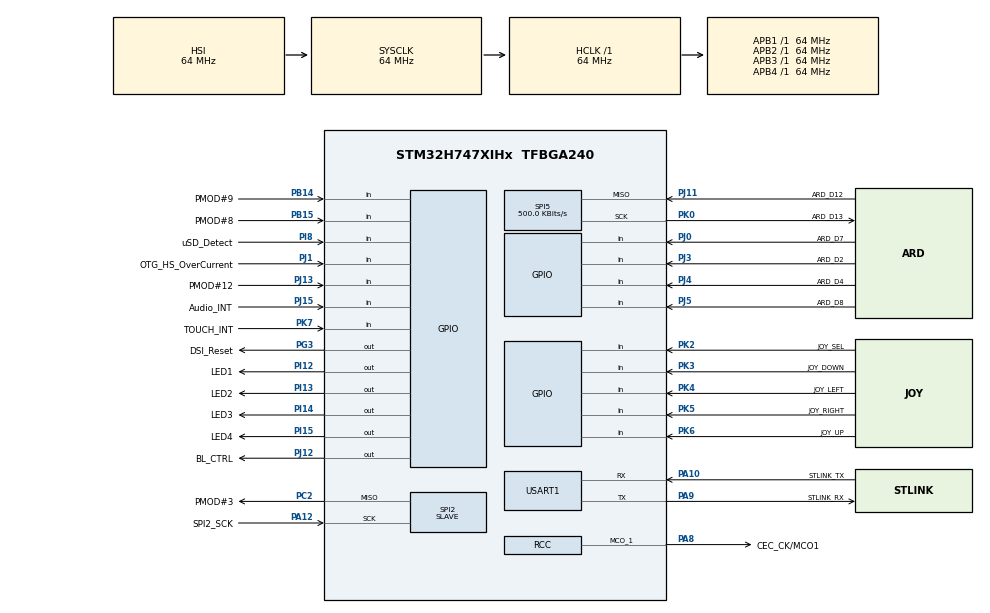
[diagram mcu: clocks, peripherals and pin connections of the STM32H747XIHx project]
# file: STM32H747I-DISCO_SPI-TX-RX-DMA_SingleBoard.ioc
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CortexM4.IPs=BDMA,DMA,FATFS_M4\:I,FREERTOS_M4\:I,IWDG2\:I,MDMA,NVIC2\:I,RCC,USB_DEVICE_M4\:I,USB_HOST_M4\:I,WWDG2\:I,QUADSPI\:I,DCMI\:I,RTC\:I,SDMMC1\:I,DEBUG,PDM2PCM_M4\:I,PWR,RESMGR_UTILITY,SYS_M4\:I,CORTEX_M4\:I,OPENAMP_M4\:I,VREFBUF
CortexM7.IPs=BDMA\:I,DMA\:I,FATFS_M7\:I,FREERTOS_M7\:I,IWDG1\:I,MDMA\:I,NVIC1\:I,RCC\:I,USB_DEVICE_M7\:I,USB_HOST_M7\:I,WWDG1\:I,USART1\:I,CORTEX_M7\:I,DEBUG\:I,PDM2PCM_M7\:I,PWR\:I,RESMGR_UTILITY\:I,SYS\:I,OPENAMP_M7\:I,VREFBUF\:I,SPI5\:I,RTC,SPI1\:I,SPI2\:I
Dma.Request0=SPI5_RX
Dma.Request1=SPI2_TX
Dma.SPI2_TX.1.Direction=DMA_MEMORY_TO_PERIPH
Dma.SPI2_TX.1.EventEnable=DISABLE
Dma.SPI2_TX.1.FIFOMode=DMA_FIFOMODE_DISABLE
Dma.SPI2_TX.1.Instance=DMA2_Stream0
Dma.SPI2_TX.1.MemDataAlignment=DMA_MDATAALIGN_BYTE
Dma.SPI2_TX.1.MemInc=DMA_MINC_ENABLE
Dma.SPI2_TX.1.Mode=DMA_NORMAL
Dma.SPI2_TX.1.PeriphDataAlignment=DMA_PDATAALIGN_BYTE
Dma.SPI2_TX.1.PeriphInc=DMA_PINC_DISABLE
Dma.SPI2_TX.1.Polarity=HAL_DMAMUX_REQ_GEN_RISING
Dma.SPI2_TX.1.Priority=DMA_PRIORITY_MEDIUM
Dma.SPI2_TX.1.RequestNumber=1
Dma.SPI2_TX.1.SignalID=NONE
Dma.SPI2_TX.1.SyncEnable=DISABLE
Dma.SPI2_TX.1.SyncPolarity=HAL_DMAMUX_SYNC_NO_EVENT
Dma.SPI2_TX.1.SyncRequestNumber=1
Dma.SPI2_TX.1.SyncSignalID=NONE
Dma.SPI5_RX.0.Direction=DMA_PERIPH_TO_MEMORY
Dma.SPI5_RX.0.EventEnable=DISABLE
Dma.SPI5_RX.0.FIFOMode=DMA_FIFOMODE_DISABLE
Dma.SPI5_RX.0.Instance=DMA1_Stream0
Dma.SPI5_RX.0.MemDataAlignment=DMA_MDATAALIGN_BYTE
Dma.SPI5_RX.0.MemInc=DMA_MINC_ENABLE
Dma.SPI5_RX.0.Mode=DMA_NORMAL
Dma.SPI5_RX.0.PeriphDataAlignment=DMA_PDATAALIGN_BYTE
Dma.SPI5_RX.0.PeriphInc=DMA_PINC_DISABLE
Dma.SPI5_RX.0.Polarity=HAL_DMAMUX_REQ_GEN_RISING
Dma.SPI5_RX.0.Priority=DMA_PRIORITY_MEDIUM
Dma.SPI5_RX.0.RequestNumber=1
Dma.SPI5_RX.0.SignalID=NONE
Dma.SPI5_RX.0.SyncEnable=DISABLE
Dma.SPI5_RX.0.SyncPolarity=HAL_DMAMUX_SYNC_NO_EVENT
Dma.SPI5_RX.0.SyncRequestNumber=1
Dma.SPI5_RX.0.SyncSignalID=NONE
Mcu.Family=STM32H7
Mcu.Name=STM32H747XIHx
Mcu.Package=TFBGA240
NVIC1.DMA1_Stream0_IRQn=true\:0\:0\:false\:false\:true\:false\:true
NVIC1.DMA2_Stream0_IRQn=true\:0\:0\:false\:false\:true\:false\:true
NVIC1.PriorityGroup=NVIC_PRIORITYGROUP_4
NVIC1.SPI2_IRQn=true\:0\:0\:false\:false\:true\:false\:true
NVIC1.SPI5_IRQn=true\:0\:0\:false\:false\:true\:false\:true
NVIC2.PriorityGroup=NVIC_PRIORITYGROUP_4
PA0_C.GPIO_Label=ARD_A2
PA0_C.PinAttribute=CortexM4
PA0_C.Signal=ADCx_INP0
PA1.GPIO_Label=ETH_REF_CLK
PA1.PinAttribute=CortexM4
PA1.Signal=ETH_REF_CLK
PA10.GPIO_Label=STLINK_TX
PA10.Mode=Asynchronous
PA10.PinAttribute=CortexM7
PA10.Signal=USART1_RX
PA11.GPIO_Label=PMOD\#1
PA11.PinAttribute=CortexM7
PA11.Signal=SPI2_NSS
PA12.GPIO_Label=SPI2_SCK
PA12.Mode=TX_Only_Simplex_Unidirect_Slave
PA12.PinAttribute=CortexM7
PA12.Signal=SPI2_SCK
PA13\ (JTMS/SWDIO).Mode=Trace_Asynchronous_SW
PA13\ (JTMS/SWDIO).PinAttribute=CortexM7
PA13\ (JTMS/SWDIO).Signal=DEBUG_JTMS-SWDIO
PA14\ (JTCK/SWCLK).Mode=Trace_Asynchronous_SW
PA14\ (JTCK/SWCLK).PinAttribute=CortexM7
PA14\ (JTCK/SWCLK).Signal=DEBUG_JTCK-SWCLK
PA1_C.GPIO_Label=ARD_A3
PA1_C.PinAttribute=CortexM4
PA1_C.Signal=ADCx_INP1
PA2.GPIO_Label=ETH_MDIO
PA2.PinAttribute=CortexM4
PA2.Signal=ETH_MDIO
PA3.GPIO_Label=ULPI_D0
PA3.PinAttribute=CortexM4
PA3.Signal=USB_OTG_HS_ULPI_D0
PA5.GPIO_Label=ULPI_CK
PA5.PinAttribute=CortexM4
PA5.Signal=USB_OTG_HS_ULPI_CK
PA7.GPIO_Label=ETH_CRS_DV
PA7.PinAttribute=CortexM4
PA7.Signal=ETH_CRS_DV
PA8.GPIO_Label=CEC_CK/MCO1
PA8.Mode=Clock-out-1
PA8.PinAttribute=CortexM7
PA8.Signal=RCC_MCO_1
PA9.GPIO_Label=STLINK_RX
PA9.Mode=Asynchronous
PA9.PinAttribute=CortexM7
PA9.Signal=USART1_TX
PB0.GPIO_Label=ULPI_D1
PB0.PinAttribute=CortexM4
PB0.Signal=USB_OTG_HS_ULPI_D1
PB1.GPIO_Label=ULPI_D2
PB1.PinAttribute=CortexM4
PB1.Signal=USB_OTG_HS_ULPI_D2
PB10.GPIO_Label=ULPI_D3
PB10.PinAttribute=CortexM4
PB10.Signal=USB_OTG_HS_ULPI_D3
PB11.GPIO_Label=ULPI_D4
PB11.PinAttribute=CortexM4
PB11.Signal=USB_OTG_HS_ULPI_D4
PB12.GPIO_Label=ULPI_D5
PB12.PinAttribute=CortexM4
PB12.Signal=USB_OTG_HS_ULPI_D5
PB13.GPIO_Label=ULPI_D6
PB13.PinAttribute=CortexM4
PB13.Signal=USB_OTG_HS_ULPI_D6
PB14.GPIO_Label=PMOD\#9
PB14.PinAttribute=Free
PB14.Signal=GPIO_Input
PB15.GPIO_Label=PMOD\#8
PB15.PinAttribute=Free
PB15.Signal=GPIO_Input
PB2.GPIO_Label=QSPI_CLK
PB2.PinAttribute=CortexM4
PB2.Signal=QUADSPI_CLK
PB3\ (JTDO/TRACESWO).Mode=Trace_Asynchronous_SW
PB3\ (JTDO/TRACESWO).PinAttribute=CortexM7
PB3\ (JTDO/TRACESWO).Signal=DEBUG_JTDO-SWO
PB5.GPIO_Label=ULPI_D7
PB5.PinAttribute=CortexM4
PB5.Signal=USB_OTG_HS_ULPI_D7
PB6.GPIO_Label=HDMI_CEC
PB6.PinAttribute=CortexM4
PB6.Signal=CEC
PC0.GPIO_Label=ULPI_STP
PC0.PinAttribute=CortexM4
PC0.Signal=USB_OTG_HS_ULPI_STP
PC1.GPIO_Label=ETH_MDC/SAI4_D1
PC1.PinAttribute=CortexM4
PC1.Signal=ETH_MDC
PC10.GPIO_Label=SDIO1_D2
PC10.PinAttribute=CortexM4
PC10.Signal=SDMMC1_D2
PC12.GPIO_Label=SDIO1_CK
PC12.PinAttribute=CortexM4
PC12.Signal=SDMMC1_CK
PC13.GPIO_Label=B2 [Wakeup Button]
PC13.PinAttribute=CortexM4
PC13.Signal=RTC_TAMP1
PC14-OSC32_IN\ (OSC32_IN).GPIO_Label=OSC32_IN
PC14-OSC32_IN\ (OSC32_IN).Mode=LSE-External-Oscillator
PC14-OSC32_IN\ (OSC32_IN).PinAttribute=CortexM7
PC14-OSC32_IN\ (OSC32_IN).Signal=RCC_OSC32_IN
PC15-OSC32_OUT\ (OSC32_OUT).GPIO_Label=OSC32_OUT
PC15-OSC32_OUT\ (OSC32_OUT).Mode=LSE-External-Oscillator
PC15-OSC32_OUT\ (OSC32_OUT).PinAttribute=CortexM7
PC15-OSC32_OUT\ (OSC32_OUT).Signal=RCC_OSC32_OUT
PC2.GPIO_Label=PMOD\#3
PC2.Mode=TX_Only_Simplex_Unidirect_Slave
PC2.PinAttribute=CortexM7
PC2.Signal=SPI2_MISO
PC2_C.GPIO_Label=ARD_A4
PC2_C.PinAttribute=CortexM4
PC2_C.Signal=ADC3_INP0
PC3.GPIO_Label=PMOD\#2
PC3.PinAttribute=CortexM7
PC3.Signal=SPI2_MOSI
PC3_C.GPIO_Label=ARD_A5
PC3_C.PinAttribute=CortexM4
PC3_C.Signal=ADC3_INP1
PC4.GPIO_Label=ETH_RXD0
PC4.PinAttribute=CortexM4
PC4.Signal=ETH_RXD0
PC5.GPIO_Label=ETH_RXD1
PC5.PinAttribute=CortexM4
PC5.Signal=ETH_RXD1
PC8.GPIO_Label=SDIO1_D0
PC8.PinAttribute=CortexM4
PC8.Signal=SDMMC1_D0
PD0.GPIO_Label=FMC_D2
PD0.PinAttribute=CortexM4
PD0.Signal=FMC_D2_DA2
PD1.GPIO_Label=FMC_D3
PD1.PinAttribute=CortexM4
PD1.Signal=FMC_D3_DA3
PD10.GPIO_Label=FMC_D15
PD10.PinAttribute=CortexM4
PD10.Signal=FMC_D15_DA15
PD11.GPIO_Label=QSPI_BK1_IO0
PD11.PinAttribute=CortexM4
PD11.Signal=QUADSPI_BK1_IO0
PD14.GPIO_Label=FMC_D0
PD14.PinAttribute=CortexM4
PD14.Signal=FMC_D0_DA0
PD15.GPIO_Label=FMC_D1
PD15.PinAttribute=CortexM4
PD15.Signal=FMC_D1_DA1
PD2.GPIO_Label=SDIO1_CMD
PD2.PinAttribute=CortexM4
PD2.Signal=SDMMC1_CMD
PD7.GPIO_Label=SPDIF_RX0
PD7.PinAttribute=CortexM4
PD7.Signal=SPDIFRX1_IN0
PD8.GPIO_Label=FMC_D13
PD8.PinAttribute=CortexM4
PD8.Signal=FMC_D13_DA13
PD9.GPIO_Label=FMC_D14
PD9.PinAttribute=CortexM4
PD9.Signal=FMC_D14_DA14
PE0.GPIO_Label=FMC_NBL0
PE0.PinAttribute=CortexM4
PE0.Signal=FMC_NBL0
PE1.GPIO_Label=FMC_NBL1
PE1.PinAttribute=CortexM4
PE1.Signal=FMC_NBL1
PE10.GPIO_Label=FMC_D7
PE10.PinAttribute=CortexM4
PE10.Signal=FMC_D7_DA7
PE11.GPIO_Label=FMC_D8
PE11.PinAttribute=CortexM4
PE11.Signal=FMC_D8_DA8
PE12.GPIO_Label=FMC_D9
PE12.PinAttribute=CortexM4
PE12.Signal=FMC_D9_DA9
PE13.GPIO_Label=FMC_D10
PE13.PinAttribute=CortexM4
PE13.Signal=FMC_D10_DA10
PE14.GPIO_Label=FMC_D11
PE14.PinAttribute=CortexM4
PE14.Signal=FMC_D11_DA11
PE15.GPIO_Label=FMC_D12
PE15.PinAttribute=CortexM4
PE15.Signal=FMC_D12_DA12
PE3.GPIO_Label=SAI1_SD_B
PE3.PinAttribute=CortexM4
PE3.Signal=SAI1_SD_B
PE4.GPIO_Label=SAI1_FS_A
PE4.PinAttribute=CortexM4
PE4.Signal=SAI1_FS_A
PE5.GPIO_Label=SAI1_SCK_A
PE5.PinAttribute=CortexM4
PE5.Signal=SAI1_SCK_A
PE6.GPIO_Label=SAI1_SD_A
PE6.PinAttribute=CortexM4
PE6.Signal=SAI1_SD_A
PE7.GPIO_Label=FMC_D4
PE7.PinAttribute=CortexM4
PE7.Signal=FMC_D4_DA4
PE8.GPIO_Label=FMC_D5
PE8.PinAttribute=CortexM4
PE8.Signal=FMC_D5_DA5
PE9.GPIO_Label=FMC_D6
PE9.PinAttribute=CortexM4
PE9.Signal=FMC_D6_DA6
PF0.GPIO_Label=FMC_A0
PF0.PinAttribute=CortexM4
PF0.Signal=FMC_A0
PF1.GPIO_Label=FMC_A1
PF1.PinAttribute=CortexM4
PF1.Signal=FMC_A1
PF10.GPIO_Label=ARD_A1
PF10.PinAttribute=CortexM4
PF10.Signal=ADC3_INP6
PF11.GPIO_Label=FMC_SDRAS
PF11.PinAttribute=CortexM4
PF11.Signal=FMC_SDNRAS
PF12.GPIO_Label=FMC_A6
PF12.PinAttribute=CortexM4
PF12.Signal=FMC_A6
PF13.GPIO_Label=FMC_A7
PF13.PinAttribute=CortexM4
PF13.Signal=FMC_A7
PF14.GPIO_Label=FMC_A8
PF14.PinAttribute=CortexM4
PF14.Signal=FMC_A8
PF15.GPIO_Label=FMC_A9
PF15.PinAttribute=CortexM4
PF15.Signal=FMC_A9
PF2.GPIO_Label=FMC_A2
PF2.PinAttribute=CortexM4
PF2.Signal=FMC_A2
PF3.GPIO_Label=FMC_A3
PF3.PinAttribute=CortexM4
PF3.Signal=FMC_A3
PF4.GPIO_Label=FMC_A4
PF4.PinAttribute=CortexM4
PF4.Signal=FMC_A4
PF5.GPIO_Label=FMC_A5
PF5.PinAttribute=CortexM4
PF5.Signal=FMC_A5
PF6.GPIO_Label=QSPI_BK1_IO3
PF6.PinAttribute=CortexM4
PF6.Signal=QUADSPI_BK1_IO3
PF7.GPIO_Label=QSPI_BK1_IO2
PF7.PinAttribute=CortexM4
PF7.Signal=QUADSPI_BK1_IO2
PF8.GPIO_Label=PMOD\#14/ARD_D3
PF8.PinAttribute=CortexM4
PF8.Signal=S_TIM13_CH1
PF9.GPIO_Label=QSPI_BK1_IO1
PF9.PinAttribute=CortexM4
PF9.Signal=QUADSPI_BK1_IO1
PG0.GPIO_Label=FMC_A10
PG0.PinAttribute=CortexM4
PG0.Signal=FMC_A10
PG1.GPIO_Label=FMC_A11
PG1.PinAttribute=CortexM4
PG1.Signal=FMC_A11
PG11.GPIO_Label=ETH_TX_EN
PG11.PinAttribute=CortexM4
PG11.Signal=ETH_TX_EN
PG12.GPIO_Label=ETH_TXD1
PG12.PinAttribute=CortexM4
PG12.Signal=ETH_TXD1
PG13.GPIO_Label=ETH_TXD0
PG13.PinAttribute=CortexM4
PG13.Signal=ETH_TXD0
PG14.GPIO_Label=QSPI_BK2_IO3
PG14.PinAttribute=CortexM4
PG14.Signal=QUADSPI_BK2_IO3
PG15.GPIO_Label=FMC_SDCAS
PG15.PinAttribute=CortexM4
PG15.Signal=FMC_SDNCAS
PG2.GPIO_Label=FMC_A12
PG2.PinAttribute=CortexM4
PG2.Signal=FMC_A12
PG3.GPIO_Label=DSI_Reset
PG3.PinAttribute=Free
PG3.Signal=GPIO_Output
PG4.GPIO_Label=FMC_BA0
PG4.PinAttribute=CortexM4
PG4.Signal=FMC_A14_BA0
PG6.GPIO_Label=QSPI_BK1_NCS
PG6.PinAttribute=CortexM4
PG6.Signal=QUADSPI_BK1_NCS
PG7.GPIO_Label=SAI1_MCLK_A
PG7.PinAttribute=CortexM4
PG7.Signal=SAI1_MCLK_A
PG8.GPIO_Label=FMC_SDCLK
PG8.PinAttribute=CortexM4
PG8.Signal=FMC_SDCLK
PG9.GPIO_Label=QSPI_BK2_IO2
PG9.PinAttribute=CortexM4
PG9.Signal=QUADSPI_BK2_IO2
PH0-OSC_IN\ (PH0).GPIO_Label=OSC_IN
PH0-OSC_IN\ (PH0).Mode=HSE-External-Oscillator
PH0-OSC_IN\ (PH0).PinAttribute=CortexM7
PH0-OSC_IN\ (PH0).Signal=RCC_OSC_IN
PH1-OSC_OUT\ (PH1).GPIO_Label=OSC_OUT
PH1-OSC_OUT\ (PH1).Mode=HSE-External-Oscillator
PH1-OSC_OUT\ (PH1).PinAttribute=CortexM7
PH1-OSC_OUT\ (PH1).Signal=RCC_OSC_OUT
PH10.GPIO_Label=FMC_D18
PH10.PinAttribute=CortexM4
PH10.Signal=FMC_D18
PH11.GPIO_Label=FMC_D19
PH11.PinAttribute=CortexM4
PH11.Signal=FMC_D19
PH12.GPIO_Label=FMC_D20
PH12.PinAttribute=CortexM4
PH12.Signal=FMC_D20
PH13.GPIO_Label=FMC_D21
PH13.PinAttribute=CortexM4
PH13.Signal=FMC_D21
PH14.GPIO_Label=FMC_D22
PH14.PinAttribute=CortexM4
PH14.Signal=FMC_D22
PH15.GPIO_Label=FMC_D23
PH15.PinAttribute=CortexM4
PH15.Signal=FMC_D23
PH2.GPIO_Label=QSPI_BK2_IO0
PH2.PinAttribute=CortexM4
PH2.Signal=QUADSPI_BK2_IO0
PH3.GPIO_Label=QSPI_BK2_IO1
PH3.PinAttribute=CortexM4
PH3.Signal=QUADSPI_BK2_IO1
PH4.GPIO_Label=ULPI_NXT
PH4.PinAttribute=CortexM4
PH4.Signal=USB_OTG_HS_ULPI_NXT
PH5.GPIO_Label=FMC_SDNWE
PH5.PinAttribute=CortexM4
PH5.Signal=FMC_SDNWE
PH6.GPIO_Label=FMC_SDNE1
PH6.PinAttribute=CortexM4
PH6.Signal=FMC_SDNE1
PH7.GPIO_Label=FMC_SDCKE1
PH7.PinAttribute=CortexM4
PH7.Signal=FMC_SDCKE1
PH8.GPIO_Label=FMC_D16
PH8.PinAttribute=CortexM4
PH8.Signal=FMC_D16
PH9.GPIO_Label=FMC_D17
PH9.PinAttribute=CortexM4
PH9.Signal=FMC_D17
PI0.GPIO_Label=FMC_D24
PI0.PinAttribute=CortexM4
PI0.Signal=FMC_D24
PI1.GPIO_Label=FMC_D25
PI1.PinAttribute=CortexM4
PI1.Signal=FMC_D25
PI10.GPIO_Label=FMC_D31
PI10.PinAttribute=CortexM4
PI10.Signal=FMC_D31
PI11.GPIO_Label=ULPI_DIR
PI11.PinAttribute=CortexM4
PI11.Signal=USB_OTG_HS_ULPI_DIR
PI12.GPIO_Label=LED1
PI12.PinAttribute=Free
PI12.Signal=GPIO_Output
PI13.GPIO_Label=LED2
PI13.PinAttribute=Free
PI13.Signal=GPIO_Output
PI14.GPIO_Label=LED3
PI14.PinAttribute=Free
PI14.Signal=GPIO_Output
PI15.GPIO_Label=LED4
PI15.PinAttribute=Free
PI15.Signal=GPIO_Output
PI2.GPIO_Label=FMC_D26
PI2.PinAttribute=CortexM4
PI2.Signal=FMC_D26
PI3.GPIO_Label=FMC_D27
PI3.PinAttribute=CortexM4
PI3.Signal=FMC_D27
PI4.GPIO_Label=FMC_NBL2
PI4.PinAttribute=CortexM4
PI4.Signal=FMC_NBL2
PI5.GPIO_Label=FMC_NBL3
PI5.PinAttribute=CortexM4
PI5.Signal=FMC_NBL3
PI6.GPIO_Label=FMC_D28
PI6.PinAttribute=CortexM4
PI6.Signal=FMC_D28
PI7.GPIO_Label=FMC_D29
PI7.PinAttribute=CortexM4
PI7.Signal=FMC_D29
PI8.GPIO_Label=uSD_Detect
PI8.PinAttribute=Free
PI8.Signal=GPIO_Input
PI9.GPIO_Label=FMC_D30
PI9.PinAttribute=CortexM4
PI9.Signal=FMC_D30
PJ0.GPIO_Label=ARD_D7
PJ0.PinAttribute=Free
PJ0.Signal=GPIO_Input
PJ1.GPIO_Label=OTG_HS_OverCurrent
PJ1.PinAttribute=Free
PJ1.Signal=GPIO_Input
PJ10.GPIO_Label=ARD_D11
PJ10.PinAttribute=CortexM7
PJ10.Signal=SPI5_MOSI
PJ11.GPIO_Label=ARD_D12
PJ11.Mode=RX_Only_Simplex_Unidirect_Master
PJ11.PinAttribute=CortexM7
PJ11.Signal=SPI5_MISO
PJ12.GPIO_Label=BL_CTRL
PJ12.PinAttribute=Free
PJ12.Signal=GPIO_Output
PJ13.GPIO_Label=PMOD\#12
PJ13.PinAttribute=Free
PJ13.Signal=GPIO_Input
PJ15.GPIO_Label=Audio_INT
PJ15.PinAttribute=Free
PJ15.Signal=GPIO_Input
PJ3.GPIO_Label=ARD_D2
PJ3.PinAttribute=Free
PJ3.Signal=GPIO_Input
PJ4.GPIO_Label=ARD_D4
PJ4.PinAttribute=Free
PJ4.Signal=GPIO_Input
PJ5.GPIO_Label=ARD_D8
PJ5.PinAttribute=Free
PJ5.Signal=GPIO_Input
PJ6.GPIO_Label=ARD_D9
PJ6.PinAttribute=CortexM4
PJ6.Signal=S_TIM8_CH2
PJ7.GPIO_Label=ARD_D6
PJ7.PinAttribute=CortexM4
PJ7.Signal=TIM8_CH2N
PJ8.GPIO_Label=ARD_D1
PJ8.PinAttribute=CortexM4
PJ8.Signal=UART8_TX
PJ9.GPIO_Label=ARD_D0
PJ9.PinAttribute=CortexM4
PJ9.Signal=UART8_RX
PK0.GPIO_Label=ARD_D13
PK0.Mode=RX_Only_Simplex_Unidirect_Master
PK0.PinAttribute=CortexM7
PK0.Signal=SPI5_SCK
PK1.GPIO_Label=ARD_D10
PK1.PinAttribute=CortexM7
PK1.Signal=SPI5_NSS
PK2.GPIO_Label=JOY_SEL
PK2.PinAttribute=Free
PK2.Signal=GPIO_Input
PK3.GPIO_Label=JOY_DOWN
PK3.PinAttribute=Free
PK3.Signal=GPIO_Input
PK4.GPIO_Label=JOY_LEFT
PK4.PinAttribute=Free
PK4.Signal=GPIO_Input
PK5.GPIO_Label=JOY_RIGHT
PK5.PinAttribute=Free
PK5.Signal=GPIO_Input
PK6.GPIO_Label=JOY_UP
PK6.PinAttribute=Free
PK6.Signal=GPIO_Input
PK7.GPIO_Label=TOUCH_INT
PK7.PinAttribute=Free
PK7.Signal=GPIO_Input
ProjectManager.HeapSize=M4-0x200,M7-0x200
ProjectManager.StackSize=M4-0x400,M7-0x400
ProjectManager.TargetToolchain=STM32CubeIDE
RCC.ADCFreq_Value=75000000
RCC.APB1Freq_Value=64000000
RCC.APB2Freq_Value=64000000
RCC.APB3Freq_Value=64000000
RCC.APB4Freq_Value=64000000
RCC.CortexFreq_Value=64000000
RCC.DIVM1=5
RCC.DIVM2=2
RCC.DIVN1=48
RCC.DIVN2=12
RCC.DIVQ1=5
RCC.HCLKFreq_Value=64000000
RCC.PLL2FRACN=0
RCC.PLL3FRACN=0
RCC.PLLFRACN=0
RCC.PLLSourceVirtual=RCC_PLLSOURCE_HSE
RCC.PWR_Regulator_Voltage_Scale=PWR_REGULATOR_VOLTAGE_SCALE1
RCC.SYSCLKFreq_VALUE=64000000
RCC.SupplySource=PWR_DIRECT_SMPS_SUPPLY
RCC.USBFreq_Value=48000000
SH.ADCx_INP0.0=ADC1_INP0
SH.ADCx_INP1.0=ADC1_INP1
SH.FMC_A0.0=FMC_A0
SH.FMC_A1.0=FMC_A1
SH.FMC_A10.0=FMC_A10
SH.FMC_A11.0=FMC_A11
SH.FMC_A12.0=FMC_A12
SH.FMC_A14_BA0.0=FMC_BA0
SH.FMC_A2.0=FMC_A2
SH.FMC_A3.0=FMC_A3
SH.FMC_A4.0=FMC_A4
SH.FMC_A5.0=FMC_A5
SH.FMC_A6.0=FMC_A6
SH.FMC_A7.0=FMC_A7
SH.FMC_A8.0=FMC_A8
SH.FMC_A9.0=FMC_A9
SH.FMC_D0_DA0.0=FMC_D0
SH.FMC_D10_DA10.0=FMC_D10
SH.FMC_D11_DA11.0=FMC_D11
SH.FMC_D12_DA12.0=FMC_D12
SH.FMC_D13_DA13.0=FMC_D13
SH.FMC_D14_DA14.0=FMC_D14
SH.FMC_D15_DA15.0=FMC_D15
SH.FMC_D16.0=FMC_D16
SH.FMC_D17.0=FMC_D17
SH.FMC_D18.0=FMC_D18
SH.FMC_D19.0=FMC_D19
SH.FMC_D1_DA1.0=FMC_D1
SH.FMC_D20.0=FMC_D20
SH.FMC_D21.0=FMC_D21
SH.FMC_D22.0=FMC_D22
SH.FMC_D23.0=FMC_D23
SH.FMC_D24.0=FMC_D24
SH.FMC_D25.0=FMC_D25
SH.FMC_D26.0=FMC_D26
SH.FMC_D27.0=FMC_D27
SH.FMC_D28.0=FMC_D28
SH.FMC_D29.0=FMC_D29
SH.FMC_D2_DA2.0=FMC_D2
SH.FMC_D30.0=FMC_D30
SH.FMC_D31.0=FMC_D31
SH.FMC_D3_DA3.0=FMC_D3
SH.FMC_D4_DA4.0=FMC_D4
SH.FMC_D5_DA5.0=FMC_D5
SH.FMC_D6_DA6.0=FMC_D6
SH.FMC_D7_DA7.0=FMC_D7
SH.FMC_D8_DA8.0=FMC_D8
SH.FMC_D9_DA9.0=FMC_D9
SH.FMC_NBL0.0=FMC_NBL0
SH.FMC_NBL1.0=FMC_NBL1
SH.FMC_NBL2.0=FMC_NBL2
SH.FMC_NBL3.0=FMC_NBL3
SH.FMC_SDCLK.0=FMC_SDCLK
SH.FMC_SDNCAS.0=FMC_SDNCAS
SH.FMC_SDNRAS.0=FMC_SDNRAS
SH.FMC_SDNWE.0=FMC_SDNWE
SH.S_TIM13_CH1.0=TIM13_CH1
SH.S_TIM8_CH2.0=TIM8_CH2
SPI2.DataSize=SPI_DATASIZE_8BIT
SPI2.Direction=SPI_DIRECTION_2LINES_TXONLY
SPI2.Mode=SPI_MODE_SLAVE
SPI2.VirtualType=VM_SLAVE
SPI5.BaudRatePrescaler=SPI_BAUDRATEPRESCALER_128
SPI5.CalculateBaudRate=500.0 KBits/s
SPI5.DataSize=SPI_DATASIZE_8BIT
SPI5.Direction=SPI_DIRECTION_2LINES_RXONLY
SPI5.MasterKeepIOState=SPI_MASTER_KEEP_IO_STATE_ENABLE
SPI5.Mode=SPI_MODE_MASTER
SPI5.NSSPMode=SPI_NSS_PULSE_DISABLE
SPI5.VirtualType=VM_MASTER
USART1.VirtualMode-Asynchronous=VM_ASYNC
VP_SYS_M4_VS_Systick.Mode=SysTick
board=STM32H747I-DISCO

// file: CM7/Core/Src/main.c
/* USER CODE BEGIN Header */
/**
  ******************************************************************************
  * @file           : main.c
  * @brief          : Main program body
  ******************************************************************************
  * @attention
  *
  * <h2><center>&copy; Copyright (c) 2021 STMicroelectronics.
  * All rights reserved.</center></h2>
  *
  * This software component is licensed by ST under BSD 3-Clause license,
  * the "License"; You may not use this file except in compliance with the
  * License. You may obtain a copy of the License at:
  *                        opensource.org/licenses/BSD-3-Clause
  *
  ******************************************************************************
  */
/* USER CODE END Header */
#include "main.h"

/* USER CODE BEGIN Includes */

#include <stdio.h>

/* USER CODE END Includes */

/* USER CODE BEGIN PD */

#ifndef HSEM_ID_0
#define HSEM_ID_0 (0U) /* HW semaphore 0*/
#endif
/* USER CODE END PD */

SPI_HandleTypeDef hspi2;
SPI_HandleTypeDef hspi5;
DMA_HandleTypeDef hdma_spi2_tx;
DMA_HandleTypeDef hdma_spi5_rx;

UART_HandleTypeDef huart1;

/* USER CODE BEGIN PV */

uint8_t send_data[100];
uint8_t receive_data[100];

/* USER CODE END PV */

void SystemClock_Config(void);
static void MX_GPIO_Init(void);
static void MX_USART1_UART_Init(void);
static void MX_SPI2_Init(void);
static void MX_SPI5_Init(void);
static void MX_DMA_Init(void);
/* USER CODE BEGIN PFP */

#define PUTCHAR_PROTOTYPE int __io_putchar(int ch)

/* USER CODE END PFP */

int main(void)
{
/* USER CODE BEGIN Boot_Mode_Sequence_0 */
  int32_t timeout;
/* USER CODE END Boot_Mode_Sequence_0 */

/* USER CODE BEGIN Boot_Mode_Sequence_1 */
////  /* Wait until CPU2 boots and enters in stop mode or timeout*/
////  timeout = 0xFFFF;
////  while((__HAL_RCC_GET_FLAG(RCC_FLAG_D2CKRDY) != RESET) && (timeout-- > 0));
////  if ( timeout < 0 )
////  {
////  Error_Handler();
////  }
/* USER CODE END Boot_Mode_Sequence_1 */
  /* MCU Configuration--------------------------------------------------------*/

  /* Reset of all peripherals, Initializes the Flash interface and the Systick. */
  HAL_Init();

  /* Configure the system clock */
  SystemClock_Config();
/* USER CODE BEGIN Boot_Mode_Sequence_2 */
/////* When system initialization is finished, Cortex-M7 will release Cortex-M4 by means of
////HSEM notification */
/////*HW semaphore Clock enable*/
////__HAL_RCC_HSEM_CLK_ENABLE();
/////*Take HSEM */
////HAL_HSEM_FastTake(HSEM_ID_0);
/////*Release HSEM in order to notify the CPU2(CM4)*/
////HAL_HSEM_Release(HSEM_ID_0,0);
/////* wait until CPU2 wakes up from stop mode */
////timeout = 0xFFFF;
////while((__HAL_RCC_GET_FLAG(RCC_FLAG_D2CKRDY) == RESET) && (timeout-- > 0));
////if ( timeout < 0 )
////{
////Error_Handler();
////}
/* USER CODE END Boot_Mode_Sequence_2 */

  /* Initialize all configured peripherals */
  MX_GPIO_Init();
  MX_USART1_UART_Init();
  MX_SPI2_Init();
  MX_SPI5_Init();
  MX_DMA_Init();
  /* USER CODE BEGIN 2 */

  printf("Starting >> STM32H747I-DISCO_SPI-TX-RX-DMA_SingleBoard \n");

  for(u_int16_t cntr = 0; cntr < 100; cntr++)
	  send_data[cntr] = cntr;

  HAL_SPI_Transmit_DMA(&hspi5, send_data, 30);

  HAL_SPI_Receive_DMA(&hspi2, receive_data, 30);

  HAL_Delay(50);

  printf("Ending >> STM32H747I-DISCO_SPI-TX-RX-DMA_SingleBoard \n");

  /* USER CODE END 2 */

  /* Infinite loop */
  while (1)
  {

  }
}

void SystemClock_Config(void)
{
  RCC_OscInitTypeDef RCC_OscInitStruct = {0};
  RCC_ClkInitTypeDef RCC_ClkInitStruct = {0};

  /** Supply configuration update enable
  */
  HAL_PWREx_ConfigSupply(PWR_DIRECT_SMPS_SUPPLY);
  /** Configure the main internal regulator output voltage
  */
  __HAL_PWR_VOLTAGESCALING_CONFIG(PWR_REGULATOR_VOLTAGE_SCALE1);

  while(!__HAL_PWR_GET_FLAG(PWR_FLAG_VOSRDY)) {}
  /** Initializes the RCC Oscillators according to the specified parameters
  * in the RCC_OscInitTypeDef structure.
  */
  RCC_OscInitStruct.OscillatorType = RCC_OSCILLATORTYPE_HSI|RCC_OSCILLATORTYPE_HSE;
  RCC_OscInitStruct.HSEState = RCC_HSE_ON;
  RCC_OscInitStruct.HSIState = RCC_HSI_DIV1;
  RCC_OscInitStruct.HSICalibrationValue = RCC_HSICALIBRATION_DEFAULT;
  RCC_OscInitStruct.PLL.PLLState = RCC_PLL_ON;
  RCC_OscInitStruct.PLL.PLLSource = RCC_PLLSOURCE_HSE;
  RCC_OscInitStruct.PLL.PLLM = 5;
  RCC_OscInitStruct.PLL.PLLN = 48;
  RCC_OscInitStruct.PLL.PLLP = 2;
  RCC_OscInitStruct.PLL.PLLQ = 5;
  RCC_OscInitStruct.PLL.PLLR = 2;
  RCC_OscInitStruct.PLL.PLLRGE = RCC_PLL1VCIRANGE_2;
  RCC_OscInitStruct.PLL.PLLVCOSEL = RCC_PLL1VCOWIDE;
  RCC_OscInitStruct.PLL.PLLFRACN = 0;
  if (HAL_RCC_OscConfig(&RCC_OscInitStruct) != HAL_OK)
  {
    Error_Handler();
  }
  /** Initializes the CPU, AHB and APB buses clocks
  */
  RCC_ClkInitStruct.ClockType = RCC_CLOCKTYPE_HCLK|RCC_CLOCKTYPE_SYSCLK
                              |RCC_CLOCKTYPE_PCLK1|RCC_CLOCKTYPE_PCLK2
                              |RCC_CLOCKTYPE_D3PCLK1|RCC_CLOCKTYPE_D1PCLK1;
  RCC_ClkInitStruct.SYSCLKSource = RCC_SYSCLKSOURCE_HSI;
  RCC_ClkInitStruct.SYSCLKDivider = RCC_SYSCLK_DIV1;
  RCC_ClkInitStruct.AHBCLKDivider = RCC_HCLK_DIV1;
  RCC_ClkInitStruct.APB3CLKDivider = RCC_APB3_DIV1;
  RCC_ClkInitStruct.APB1CLKDivider = RCC_APB1_DIV1;
  RCC_ClkInitStruct.APB2CLKDivider = RCC_APB2_DIV1;
  RCC_ClkInitStruct.APB4CLKDivider = RCC_APB4_DIV1;

  if (HAL_RCC_ClockConfig(&RCC_ClkInitStruct, FLASH_LATENCY_0) != HAL_OK)
  {
    Error_Handler();
  }
  HAL_RCC_MCOConfig(RCC_MCO1, RCC_MCO1SOURCE_HSI, RCC_MCODIV_1);
}

static void MX_SPI2_Init(void)
{

  /* SPI2 parameter configuration*/
  hspi2.Instance = SPI2;
  hspi2.Init.Mode = SPI_MODE_SLAVE;
  hspi2.Init.Direction = SPI_DIRECTION_2LINES_TXONLY;
  hspi2.Init.DataSize = SPI_DATASIZE_8BIT;
  hspi2.Init.CLKPolarity = SPI_POLARITY_LOW;
  hspi2.Init.CLKPhase = SPI_PHASE_1EDGE;
  hspi2.Init.NSS = SPI_NSS_SOFT;
  hspi2.Init.FirstBit = SPI_FIRSTBIT_MSB;
  hspi2.Init.TIMode = SPI_TIMODE_DISABLE;
  hspi2.Init.CRCCalculation = SPI_CRCCALCULATION_DISABLE;
  hspi2.Init.CRCPolynomial = 0x0;
  hspi2.Init.NSSPMode = SPI_NSS_PULSE_DISABLE;
  hspi2.Init.NSSPolarity = SPI_NSS_POLARITY_LOW;
  hspi2.Init.FifoThreshold = SPI_FIFO_THRESHOLD_01DATA;
  hspi2.Init.TxCRCInitializationPattern = SPI_CRC_INITIALIZATION_ALL_ZERO_PATTERN;
  hspi2.Init.RxCRCInitializationPattern = SPI_CRC_INITIALIZATION_ALL_ZERO_PATTERN;
  hspi2.Init.MasterSSIdleness = SPI_MASTER_SS_IDLENESS_00CYCLE;
  hspi2.Init.MasterInterDataIdleness = SPI_MASTER_INTERDATA_IDLENESS_00CYCLE;
  hspi2.Init.MasterReceiverAutoSusp = SPI_MASTER_RX_AUTOSUSP_DISABLE;
  hspi2.Init.MasterKeepIOState = SPI_MASTER_KEEP_IO_STATE_DISABLE;
  hspi2.Init.IOSwap = SPI_IO_SWAP_DISABLE;
  if (HAL_SPI_Init(&hspi2) != HAL_OK)
  {
    Error_Handler();
  }

}

static void MX_SPI5_Init(void)
{

  /* SPI5 parameter configuration*/
  hspi5.Instance = SPI5;
  hspi5.Init.Mode = SPI_MODE_MASTER;
  hspi5.Init.Direction = SPI_DIRECTION_2LINES_RXONLY;
  hspi5.Init.DataSize = SPI_DATASIZE_8BIT;
  hspi5.Init.CLKPolarity = SPI_POLARITY_LOW;
  hspi5.Init.CLKPhase = SPI_PHASE_1EDGE;
  hspi5.Init.NSS = SPI_NSS_SOFT;
  hspi5.Init.BaudRatePrescaler = SPI_BAUDRATEPRESCALER_128;
  hspi5.Init.FirstBit = SPI_FIRSTBIT_MSB;
  hspi5.Init.TIMode = SPI_TIMODE_DISABLE;
  hspi5.Init.CRCCalculation = SPI_CRCCALCULATION_DISABLE;
  hspi5.Init.CRCPolynomial = 0x0;
  hspi5.Init.NSSPMode = SPI_NSS_PULSE_DISABLE;
  hspi5.Init.NSSPolarity = SPI_NSS_POLARITY_LOW;
  hspi5.Init.FifoThreshold = SPI_FIFO_THRESHOLD_01DATA;
  hspi5.Init.TxCRCInitializationPattern = SPI_CRC_INITIALIZATION_ALL_ZERO_PATTERN;
  hspi5.Init.RxCRCInitializationPattern = SPI_CRC_INITIALIZATION_ALL_ZERO_PATTERN;
  hspi5.Init.MasterSSIdleness = SPI_MASTER_SS_IDLENESS_00CYCLE;
  hspi5.Init.MasterInterDataIdleness = SPI_MASTER_INTERDATA_IDLENESS_00CYCLE;
  hspi5.Init.MasterReceiverAutoSusp = SPI_MASTER_RX_AUTOSUSP_DISABLE;
  hspi5.Init.MasterKeepIOState = SPI_MASTER_KEEP_IO_STATE_ENABLE;
  hspi5.Init.IOSwap = SPI_IO_SWAP_DISABLE;
  if (HAL_SPI_Init(&hspi5) != HAL_OK)
  {
    Error_Handler();
  }

}

static void MX_USART1_UART_Init(void)
{

  huart1.Instance = USART1;
  huart1.Init.BaudRate = 115200;
  huart1.Init.WordLength = UART_WORDLENGTH_8B;
  huart1.Init.StopBits = UART_STOPBITS_1;
  huart1.Init.Parity = UART_PARITY_NONE;
  huart1.Init.Mode = UART_MODE_TX_RX;
  huart1.Init.HwFlowCtl = UART_HWCONTROL_NONE;
  huart1.Init.OverSampling = UART_OVERSAMPLING_16;
  huart1.Init.OneBitSampling = UART_ONE_BIT_SAMPLE_DISABLE;
  huart1.Init.ClockPrescaler = UART_PRESCALER_DIV1;
  huart1.AdvancedInit.AdvFeatureInit = UART_ADVFEATURE_NO_INIT;
  if (HAL_UART_Init(&huart1) != HAL_OK)
  {
    Error_Handler();
  }
  if (HAL_UARTEx_SetTxFifoThreshold(&huart1, UART_TXFIFO_THRESHOLD_1_8) != HAL_OK)
  {
    Error_Handler();
  }
  if (HAL_UARTEx_SetRxFifoThreshold(&huart1, UART_RXFIFO_THRESHOLD_1_8) != HAL_OK)
  {
    Error_Handler();
  }
  if (HAL_UARTEx_DisableFifoMode(&huart1) != HAL_OK)
  {
    Error_Handler();
  }

}

static void MX_DMA_Init(void)
{

  /* DMA controller clock enable */
  __HAL_RCC_DMA1_CLK_ENABLE();
  __HAL_RCC_DMA2_CLK_ENABLE();

  /* DMA interrupt init */
  /* DMA1_Stream0_IRQn interrupt configuration */
  HAL_NVIC_SetPriority(DMA1_Stream0_IRQn, 0, 0);
  HAL_NVIC_EnableIRQ(DMA1_Stream0_IRQn);
  /* DMA2_Stream0_IRQn interrupt configuration */
  HAL_NVIC_SetPriority(DMA2_Stream0_IRQn, 0, 0);
  HAL_NVIC_EnableIRQ(DMA2_Stream0_IRQn);

}

static void MX_GPIO_Init(void)
{
  GPIO_InitTypeDef GPIO_InitStruct = {0};

  /* GPIO Ports Clock Enable */
  __HAL_RCC_GPIOA_CLK_ENABLE();
  __HAL_RCC_GPIOC_CLK_ENABLE();
  __HAL_RCC_GPIOB_CLK_ENABLE();
  __HAL_RCC_GPIOH_CLK_ENABLE();
  __HAL_RCC_GPIOK_CLK_ENABLE();
  __HAL_RCC_GPIOJ_CLK_ENABLE();

  /*Configure GPIO pin : CEC_CK_MCO1_Pin */
  GPIO_InitStruct.Pin = CEC_CK_MCO1_Pin;
  GPIO_InitStruct.Mode = GPIO_MODE_AF_PP;
  GPIO_InitStruct.Pull = GPIO_NOPULL;
  GPIO_InitStruct.Speed = GPIO_SPEED_FREQ_LOW;
  GPIO_InitStruct.Alternate = GPIO_AF0_MCO;
  HAL_GPIO_Init(CEC_CK_MCO1_GPIO_Port, &GPIO_InitStruct);

}

/* USER CODE BEGIN 4 */

PUTCHAR_PROTOTYPE
{
  /* Place your implementation of fputc here */
  /* e.g. write a character to the LPUART1 and Loop until the end of transmission */
  HAL_UART_Transmit(&huart1, (uint8_t *)&ch, 1, 0xFFFF);

  return ch;
}

void HAL_SPI_RxCpltCallback(SPI_HandleTypeDef *hspi)
{
	UNUSED(hspi);
	printf("HAL_SPI_RxCpltCallback \n");
}

void HAL_SPI_ErrorCallback(SPI_HandleTypeDef *hspi)
{
	UNUSED(hspi);
	printf("HAL_SPI_ErrorCallback = %x \n", hspi->ErrorCode);
}

void HAL_SPI_TxCpltCallback(SPI_HandleTypeDef *hspi)
{
	UNUSED(hspi);
	printf("HAL_SPI_TxCpltCallback \n");
}

/* USER CODE END 4 */

void Error_Handler(void)
{
  /* USER CODE BEGIN Error_Handler_Debug */
	/* User can add his own implementation to report the HAL error return state */
	printf("Error_Handler \n");

	__disable_irq();
	while (1)
	{
	}
  /* USER CODE END Error_Handler_Debug */
}

/************************ (C) COPYRIGHT STMicroelectronics *****END OF FILE****/
